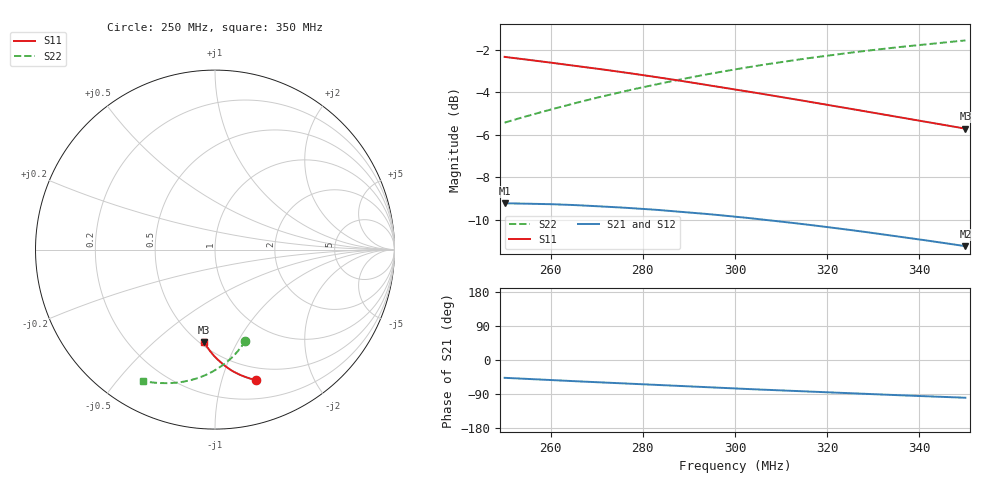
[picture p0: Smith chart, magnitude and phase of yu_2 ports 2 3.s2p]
#  HZ  S  DB  R  50.00
! Rohde & Schwarz Vector Network Analyzer
! Rohde-Schwarz,ZNL3-2Port,1323001203101687,1.37.1.9-20.11.2.22
! Created: UTC 11/14/2023, 4:13:31 PM
! freq[Hz]  db:S11  ang:S11  db:S21  ang:S21  db:S12  ang:S12  db:S22  ang:S22
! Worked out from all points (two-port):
!   801 points, 250 MHz to 350 MHz, reference 50 ohm
!   highest |S21| = -9.22 dB at 250 MHz (marker M1); lowest = -11.2 dB at 350 MHz (marker M2)
!   |S21| within 3 dB of the highest: start of sweep to end of sweep
!   lowest |S11| = -5.7 dB at 350 MHz (marker M3), VSWR 3.15, Z = 26.3 - j36.9 ohm
!   |S11| at or under -10 dB: nowhere
!   |S22| runs from -5.4 to -1.6 dB; largest |S21 - S12| = 0.0052
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2.5e8  -2.34 -72.4  -9.22 -47.0  -9.24 -47.8  -5.43 -71.6
2.53125e8  -2.43 -73.3  -9.23 -48.9  -9.24 -49.7  -5.23 -73.1
2.57875e8  -2.56 -74.7  -9.25 -51.6  -9.26 -52.5  -4.94 -75.5
2.62125e8  -2.67 -75.9  -9.28 -54.1  -9.29 -55.0  -4.70 -77.6
2.6675e8  -2.80 -77.2  -9.32 -56.8  -9.34 -57.6  -4.44 -79.9
2.71e8  -2.93 -78.4  -9.37 -59.2  -9.38 -60.0  -4.21 -82.1
2.755e8  -3.06 -79.7  -9.42 -61.7  -9.44 -62.6  -3.98 -84.3
2.83375e8  -3.31 -81.8  -9.53 -66.1  -9.55 -66.9  -3.61 -88.2
2.8775e8  -3.45 -82.9  -9.61 -68.5  -9.62 -69.4  -3.42 -90.4
2.9175e8  -3.59 -84.0  -9.68 -70.7  -9.69 -71.5  -3.25 -92.3
2.9575e8  -3.72 -85.0  -9.76 -72.9  -9.77 -73.7  -3.09 -94.3
3e8  -3.87 -86.0  -9.85 -75.1  -9.86 -76.0  -2.93 -96.3
3.04375e8  -4.03 -87.1  -9.94 -77.4  -9.96 -78.3  -2.78 -98.3
3.085e8  -4.17 -88.1  -10.04 -79.6  -10.05 -80.4  -2.64 -100.3
3.12625e8  -4.32 -89.1  -10.14 -81.7  -10.16 -82.6  -2.51 -102.2
3.1675e8  -4.47 -90.0  -10.25 -83.8  -10.26 -84.7  -2.38 -104.1
3.24625e8  -4.77 -91.8  -10.46 -87.7  -10.47 -88.6  -2.16 -107.6
3.28625e8  -4.91 -92.6  -10.58 -89.6  -10.59 -90.6  -2.06 -109.4
3.33375e8  -5.09 -93.6  -10.72 -91.9  -10.73 -92.9  -1.94 -111.5
3.41375e8  -5.39 -95.2  -10.96 -95.7  -10.97 -96.7  -1.75 -115.0
3.48875e8  -5.67 -96.6  -11.20 -99.1  -11.21 -100.2  -1.60 -118.1
3.5e8  -5.71 -96.8  -11.23 -99.6  -11.25 -100.7  -1.57 -118.6
